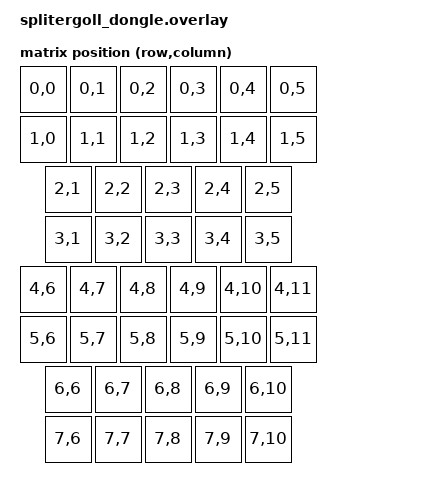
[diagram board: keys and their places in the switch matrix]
// #include "splitergoll.dtsi" make an error
#include <dt-bindings/zmk/matrix_transform.h>

/ {
    chosen {
        zmk,kscan = &mock_kscan;
        zmk,matrix-transform = &default_transform;
        zmk,battery = &vbatt;
    };

    default_transform: keymap_transform_0 {
        compatible = "zmk,matrix-transform";
        columns = <12>;
        rows = <8>;
        map = <
            RC(0,0)     RC(0,1)     RC(0,2)     RC(0,3)     RC(0,4)     RC(0,5)
            RC(1,0)     RC(1,1)     RC(1,2)     RC(1,3)     RC(1,4)     RC(1,5)
                        RC(2,1)     RC(2,2)     RC(2,3)     RC(2,4)     RC(2,5)
                        RC(3,1)     RC(3,2)     RC(3,3)     RC(3,4)     RC(3,5)

                                                                                        RC(4,6)     RC(4,7)     RC(4,8)     RC(4,9)     RC(4,10)     RC(4,11)
                                                                                        RC(5,6)     RC(5,7)     RC(5,8)     RC(5,9)     RC(5,10)     RC(5,11)
                                                                                        RC(6,6)     RC(6,7)     RC(6,8)     RC(6,9)     RC(6,10)
                                                                                        RC(7,6)     RC(7,7)     RC(7,8)     RC(7,9)     RC(7,10)
        >;
    };

    mock_kscan: kscan_0 {
        compatible = "zmk,kscan-mock";
        columns = <0>;
        rows = <0>;
        events = <0>;
    };

    left_encoder: encoder_left {
        compatible = "alps,ec11";
        steps = <18>;
        status = "disabled";
    };

    right_encoder: encoder_right {
        compatible = "alps,ec11";
        steps = <18>;
        status = "disabled";
    };

    left_vbatt: left_vbatt {
        compatible = "zmk,battery-nrf-vddh";
    };
    
    right_vbatt: right_vbatt {
        compatible = "zmk,battery-nrf-vddh";
    };

    sensors: sensors {
        compatible = "zmk,keymap-sensors";
        sensors = <&left_encoder &right_encoder>;
        triggers-per-rotation = <9>;
    };
};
